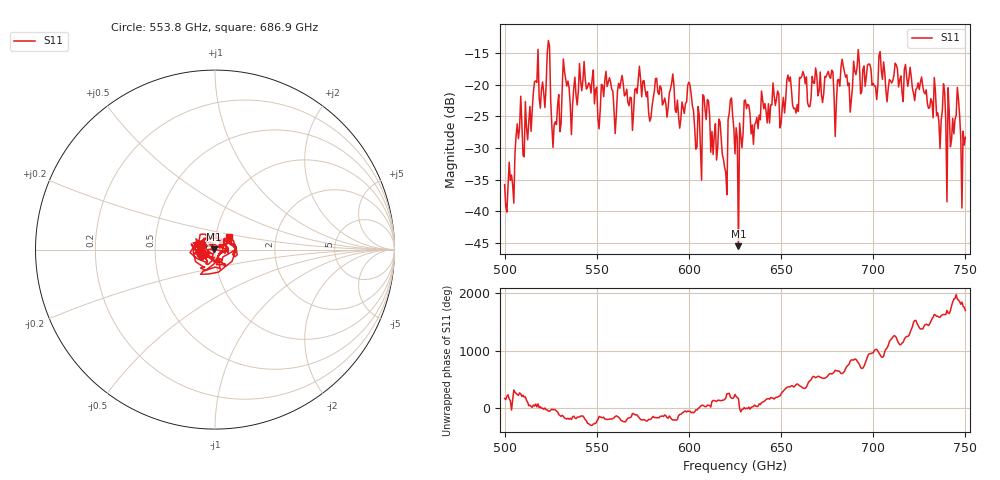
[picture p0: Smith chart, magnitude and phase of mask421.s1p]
!Created with skrf (http://scikit-rf.org).
# GHz S MA R 50.0
!freq magS11 angS11
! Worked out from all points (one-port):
!   401 points, 500 GHz to 750 GHz, reference 50 ohm
!   lowest |S11| = -45.5 dB at 626.9 GHz (marker M1), VSWR 1.01, Z = 49.5 + j0.135 ohm
!   |S11| at or under -10 dB: start of sweep to end of sweep
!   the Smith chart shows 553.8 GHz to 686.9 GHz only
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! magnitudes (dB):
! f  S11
! 500 GHz  -35.8
! 516.9 GHz  -19.4
! 520.6 GHz  -19.6
! 523.8 GHz  -13.0
! 526.9 GHz  -26.3
! 531.2 GHz  -20.6
! 560 GHz  -27.7
! 562.5 GHz  -20.5
! 579.4 GHz  -25.2
! 590.6 GHz  -19.8
! 593.8 GHz  -22.4
! 600.6 GHz  -20.1
! 605.6 GHz  -24.9
! 609.4 GHz  -25.5
! 619.4 GHz  -33.1
! 622.5 GHz  -22.4
! 625 GHz  -30.9
! 626.9 GHz  -45.5
! 631.2 GHz  -23.8
! 635 GHz  -29.4
! 656.2 GHz  -23.2
! 676.9 GHz  -19.0
! 680 GHz  -22.8
! 683.8 GHz  -17.1
! 687.5 GHz  -24.3
! 690.6 GHz  -18.4
! 718.8 GHz  -20.2
! 750 GHz  -28.3
